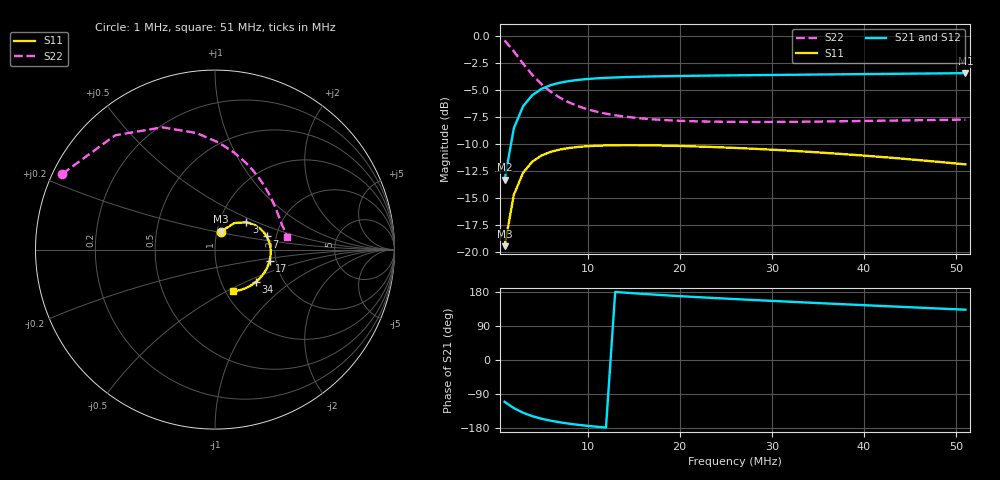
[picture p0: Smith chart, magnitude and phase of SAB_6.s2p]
# MHz S RI R 50
! S-Parameters data
! Freq  reS11  imS11  reS21  imS21  reS12  imS12  reS22  imS22
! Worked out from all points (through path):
!   51 points, 1 MHz to 51 MHz, reference 50 ohm
!   highest |S21| = -3.47 dB at 51 MHz (marker M1); lowest = -13.4 dB at 1 MHz (marker M2)
!   lowest |S11| = -19.5 dB at 1 MHz (marker M3), VSWR 1.24, Z = 52.3 + j10.7 ohm
!   |S11| at or under -10 dB: start of sweep to end of sweep
!   |S22| runs from -8.0 to -0.4 dB; largest |S21 - S12| = 0.0025
!   S11 on the Smith chart (normalised r, x): 1 MHz: 1.05, +0.21; 3 MHz: 1.34, +0.43; 7 MHz: 1.78, +0.29; 17 MHz: 1.85, -0.25; 34 MHz: 1.45, -0.57; 51 MHz: 1.08, -0.54
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1  0.0329 0.1007  -0.0751 -0.2014  -0.0745 -0.2009  -0.8507 0.4218
2  0.1078 0.1481  -0.2235 -0.2976  -0.2221 -0.2979  -0.5567 0.6366
3  0.1748 0.1522  -0.3559 -0.3078  -0.3547 -0.309  -0.2932 0.6815
4  0.2221 0.1366  -0.4501 -0.2798  -0.4496 -0.2814  -0.1047 0.6501
5  0.2535 0.1153  -0.5131 -0.2402  -0.5129 -0.2421  0.0222 0.5956
6  0.2741 0.0935  -0.5549 -0.1997  -0.5552 -0.2017  0.108 0.5392
7  0.2878 0.0731  -0.5833 -0.1621  -0.5838 -0.1638  0.1674 0.488
8  0.297 0.0544  -0.6025 -0.1279  -0.6036 -0.1296  0.2095 0.4432
9  0.3029 0.0374  -0.6163 -0.0969  -0.6174 -0.0984  0.2404 0.4049
10  0.3069 0.0219  -0.626 -0.0687  -0.6273 -0.0701  0.2635 0.372
11  0.3091 0.00754  -0.6326 -0.0427  -0.6341 -0.0441  0.2816 0.3437
13  0.3102 -0.018  -0.6401 0.00317  -0.6418 0.00208  0.307 0.2979
15  0.3083 -0.0406  -0.6428 0.0438  -0.6445 0.0428  0.324 0.2627
17  0.3043 -0.061  -0.6422 0.0795  -0.6443 0.0796  0.3356 0.2354
18  0.3017 -0.0703  -0.641 0.0966  -0.6431 0.0967  0.3403 0.2237
22  0.2882 -0.1046  -0.6322 0.1593  -0.6343 0.1597  0.3547 0.1867
26  0.2707 -0.134  -0.6183 0.2154  -0.6202 0.2162  0.365 0.1603
34  0.2258 -0.1817  -0.5793 0.3159  -0.5811 0.3173  0.38 0.1233
35  0.2193 -0.1866  -0.5735 0.3276  -0.575 0.3292  0.3817 0.1195
43  0.163 -0.2176  -0.5201 0.4151  -0.5211 0.4168  0.3933 0.0932
47  0.1319 -0.2273  -0.4887 0.4549  -0.4898 0.457  0.3981 0.0812
51  0.0996 -0.233  -0.455 0.4923  -0.4554 0.4943  0.4024 0.0699
